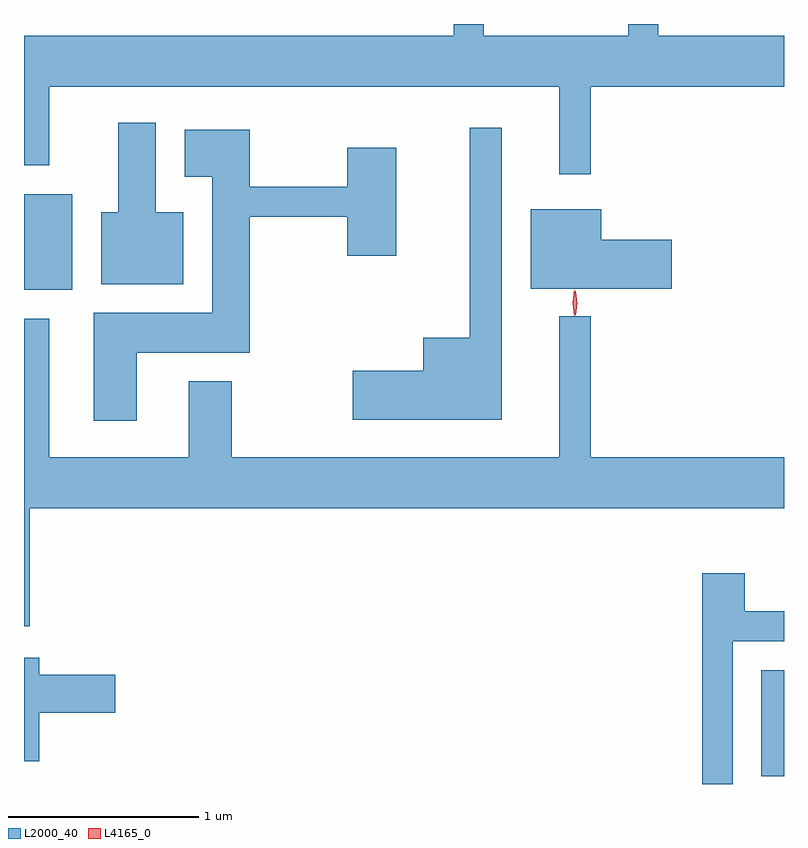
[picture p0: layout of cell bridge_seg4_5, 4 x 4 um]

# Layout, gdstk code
import gdstk
lib = gdstk.Library(unit=1e-6, precision=1e-09)
def R(c, l, rs):  # rectangles x0, y0, x1, y1
    for r in rs: c.add(gdstk.rectangle(r[:2], r[2:], *l))
def P(c, l, *ps):  # polygons
    for p in ps: c.add(gdstk.Polygon(p, *l))
L2000_40 = (2000, 40)
L4165_0 = (4165, 0)

bridge_seg4_5 = lib.new_cell('bridge_seg4_5')
R(bridge_seg4_5, L2000_40, [(1183.516,1384.346,1183.635,1384.904), (1179.635,1386.906,1179.889,1387.409)])
P(bridge_seg4_5, L2000_40, [(1182.619,1387.976),(1183.635,1387.976),(1183.635,1388.244),(1182.974,1388.244),(1182.974,1388.305),(1182.816,1388.305),(1182.816,1388.244),(1182.054,1388.244),(1182.054,1388.305),(1181.896,1388.305),(1181.896,1388.244),(1179.635,1388.244),(1179.635,1387.561),(1179.769,1387.561),(1179.769,1387.976),(1182.451,1387.976),(1182.451,1387.513),(1182.619,1387.513)],
  [(1180.474,1387.314),(1180.329,1387.314),(1180.329,1387.784),(1180.131,1387.784),(1180.131,1387.314),(1180.041,1387.314),(1180.041,1386.936),(1180.474,1386.936)],
  [(1182.149,1387.758),(1181.981,1387.758),(1181.981,1386.654),(1181.736,1386.654),(1181.736,1386.479),(1181.366,1386.479),(1181.366,1386.221),(1182.149,1386.221)],
  [(1180.229,1386.576),(1180.824,1386.576),(1180.824,1387.291),(1181.336,1387.291),(1181.336,1387.086),(1181.594,1387.086),(1181.594,1387.654),(1181.336,1387.654),(1181.336,1387.449),(1180.824,1387.449),(1180.824,1387.749),(1180.481,1387.749),(1180.481,1387.501),(1180.626,1387.501),(1180.626,1386.784),(1180.001,1386.784),(1180.001,1386.216),(1180.229,1386.216)],
  [(1183.044,1387.169),(1182.674,1387.169),(1182.674,1387.329),(1182.301,1387.329),(1182.301,1386.911),(1183.044,1386.911)],
  [(1183.635,1386.024),(1182.619,1386.024),(1182.619,1386.768),(1182.451,1386.768),(1182.451,1386.024),(1180.729,1386.024),(1180.729,1386.424),(1180.501,1386.424),(1180.501,1386.024),(1179.769,1386.024),(1179.769,1386.754),(1179.635,1386.754),(1179.635,1385.136),(1179.664,1385.136),(1179.664,1385.756),(1183.635,1385.756)],
  [(1183.364,1385.056),(1183.635,1385.056),(1183.635,1385.214),(1183.429,1385.214),(1183.429,1385.414),(1183.206,1385.414),(1183.206,1384.305),(1183.364,1384.305)],
  [(1179.714,1384.681),(1180.114,1384.681),(1180.114,1384.879),(1179.714,1384.879),(1179.714,1384.969),(1179.635,1384.969),(1179.635,1384.426),(1179.714,1384.426)])
P(bridge_seg4_5, L4165_0, [(1182.531,1386.77),(1182.522,1386.838),(1182.53,1386.906),(1182.531,1386.906),(1182.532,1386.906),(1182.541,1386.838),(1182.532,1386.77),(1182.532,1386.77)],
  [(1182.537,1386.773),(1182.537,1386.773),(1182.527,1386.836),(1182.537,1386.899),(1182.537,1386.9),(1182.538,1386.899),(1182.547,1386.836),(1182.538,1386.773)])

lib.write_gds('bridge_seg4_5.gds')
